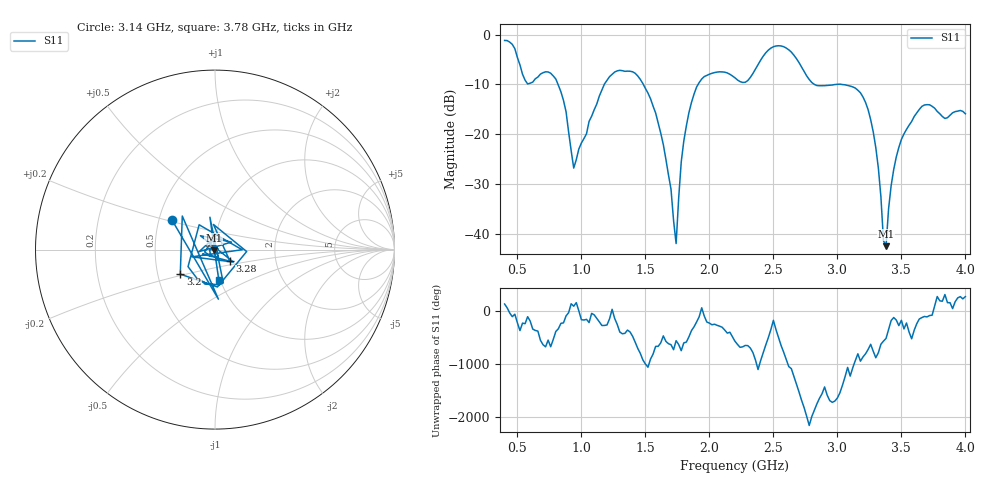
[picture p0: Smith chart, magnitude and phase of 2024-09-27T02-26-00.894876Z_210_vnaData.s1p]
!Created with skrf (http://scikit-rf.org).
# Hz S RI R 50.0
!freq ReS11 ImS11
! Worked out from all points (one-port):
!   181 points, 400 MHz to 4 GHz, reference 50 ohm
!   lowest |S11| = -42.4 dB at 3.38 GHz (marker M1), VSWR 1.02, Z = 49.3 - j0.304 ohm
!   |S11| at or under -10 dB: 817.6 MHz to 1.178 GHz (360.8 MHz wide, 36.2 % of centre); 1.484 GHz to 1.911 GHz (427.4 MHz wide, 25.2 % of centre); 3.036 GHz to end of sweep (the widest 3 of 4)
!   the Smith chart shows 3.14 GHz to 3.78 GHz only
!   S11 on the Smith chart (normalised r, x): 3.14 GHz: 0.59, +0.21; 3.2 GHz: 0.65, -0.19; 3.28 GHz: 1.17, -0.15; 3.78 GHz: 0.98, -0.34
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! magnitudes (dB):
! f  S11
! 400 MHz  -1.2
! 580 MHz  -9.9
! 740 MHz  -7.5
! 860 MHz  -13.2
! 940 MHz  -26.8
! 1.18 GHz  -9.9
! 1.3 GHz  -7.2
! 1.58 GHz  -15.7
! 1.7 GHz  -31.0
! 1.74 GHz  -41.9
! 1.76 GHz  -32.8
! 1.8 GHz  -21.3
! 1.9 GHz  -10.5
! 2.2 GHz  -8.7
! 2.5 GHz  -2.4
! 2.66 GHz  -4.1
! 2.82 GHz  -10.0
! 3.1 GHz  -10.3
! 3.14 GHz  -10.7
! 3.2 GHz  -12.5
! 3.28 GHz  -19.5
! 3.32 GHz  -26.8
! 3.36 GHz  -41.3
! 3.38 GHz  -42.4
! 3.44 GHz  -27.1
! 3.56 GHz  -18.2
! 3.78 GHz  -15.4
! 4 GHz  -15.9
